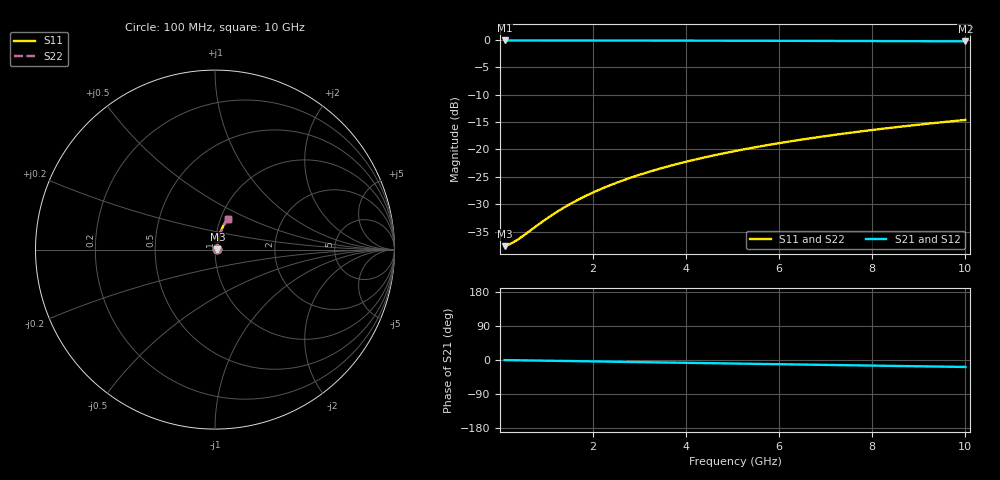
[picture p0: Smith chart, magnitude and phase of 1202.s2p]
# Hz S RI R 50.00
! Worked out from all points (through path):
!   100 points, 100 MHz to 10 GHz, reference 50 ohm
!   highest |S21| = -0.11 dB at 100 MHz (marker M1); lowest = -0.3 dB at 10 GHz (marker M2)
!   group delay of S21, straight-line fit = 5.11 ps
!   lowest |S11| = -37.7 dB at 100 MHz (marker M3), VSWR 1.03, Z = 51.3 + j0.192 ohm
!   |S11| at or under -10 dB: start of sweep to end of sweep
!   |S22| runs from -37.7 to -14.6 dB; largest |S21 - S12| = 0
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1e8  0.013 0.00187  0.987 -0.0032  0.987 -0.0032  0.013 0.00187
2e8  0.0131 0.00374  0.9869 -0.0064  0.9869 -0.0064  0.0131 0.00374
3e8  0.0132 0.0056  0.9868 -0.0096  0.9868 -0.0096  0.0132 0.0056
4e8  0.0133 0.00747  0.9867 -0.0128  0.9867 -0.0128  0.0133 0.00747
1e9  0.014 0.0186  0.9859 -0.032  0.9859 -0.032  0.014 0.0186
1.3e9  0.0145 0.0242  0.9854 -0.0416  0.9854 -0.0416  0.0145 0.0242
1.5e9  0.0148 0.0279  0.9849 -0.0479  0.9849 -0.0479  0.0148 0.0279
1.8e9  0.0155 0.0335  0.9842 -0.0575  0.9842 -0.0575  0.0155 0.0335
2.1e9  0.0162 0.039  0.9833 -0.067  0.9833 -0.067  0.0162 0.039
2.5e9  0.0174 0.0464  0.982 -0.0797  0.982 -0.0797  0.0174 0.0464
2.9e9  0.0188 0.0537  0.9804 -0.0924  0.9804 -0.0924  0.0188 0.0537
3.4e9  0.0207 0.0628  0.9782 -0.1081  0.9782 -0.1081  0.0207 0.0628
3.8e9  0.0225 0.07  0.9762 -0.1207  0.9762 -0.1207  0.0225 0.07
4.2e9  0.0244 0.0771  0.9739 -0.1332  0.9739 -0.1332  0.0244 0.0771
4.6e9  0.0266 0.0842  0.9715 -0.1456  0.9715 -0.1456  0.0266 0.0842
5.1e9  0.0295 0.093  0.9681 -0.161  0.9681 -0.161  0.0295 0.093
5.9e9  0.0347 0.1068  0.9621 -0.1855  0.9621 -0.1855  0.0347 0.1068
6.7e9  0.0406 0.1203  0.9553 -0.2097  0.9553 -0.2097  0.0406 0.1203
7.5e9  0.0472 0.1334  0.9477 -0.2335  0.9477 -0.2335  0.0472 0.1334
8.4e9  0.0553 0.1476  0.9383 -0.2598  0.9383 -0.2598  0.0553 0.1476
9.2e9  0.0632 0.1598  0.9291 -0.2827  0.9291 -0.2827  0.0632 0.1598
1e10  0.0716 0.1715  0.9193 -0.3051  0.9193 -0.3051  0.0716 0.1715
